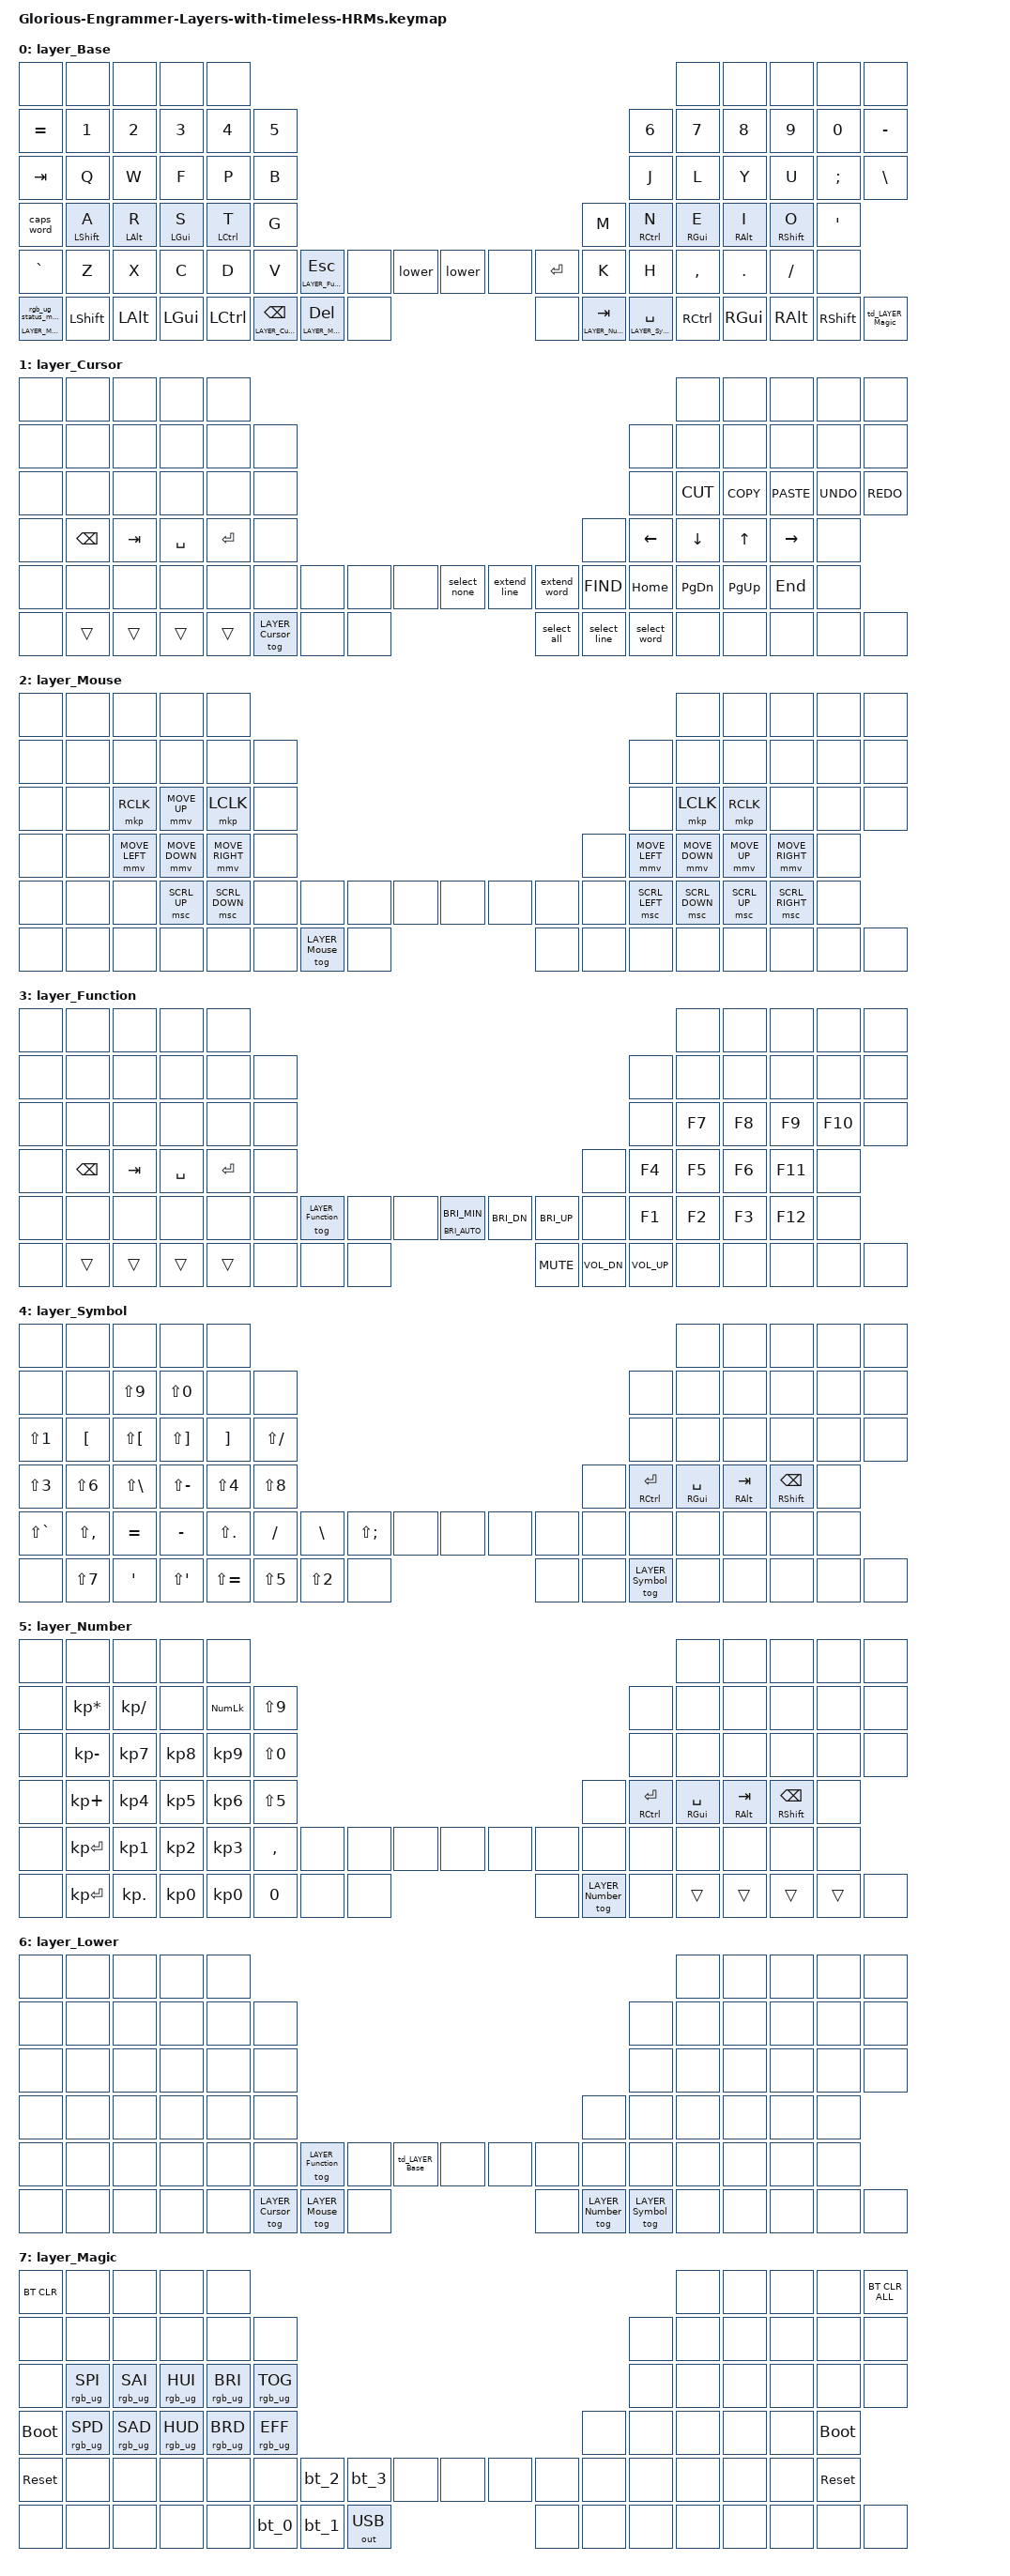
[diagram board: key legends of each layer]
/*
 * Copyright (c) 2020 The ZMK Contributors
 * Copyright (c) 2025 Innaworks Development Limited, trading as MoErgo
 *
 * SPDX-License-Identifier: MIT
 */


/* THIS FILE WAS GENERATED BY GLOVE80 LAYOUT EDITOR
 *
 * This file was generated automatically. You may or may not want to
 * edit it directly.
 */

#include <behaviors.dtsi>
/* Include all behavior includes needed */
#include <dt-bindings/zmk/outputs.h>
#include <dt-bindings/zmk/keys.h>
#include <dt-bindings/zmk/bt.h>
#include <dt-bindings/zmk/rgb.h>

/* On demand includes */
#include <dt-bindings/zmk/pointing.h>

/* Helper Macros, based on https://github.com/urob/zmk-helpers/ */

#pragma once

#define ZMK_HELPER_STRINGIFY(x) #x

// Preprocessor mechanism to overload macros, cf. https://stackoverflow.com/a/27051616/6114651
#define VARGS_(_10, _9, _8, _7, _6, _5, _4, _3, _2, _1, N, ...) N
#define VARGS(...) VARGS_(__VA_ARGS__, 10, 9, 8, 7, 6, 5, 4, 3, 2, 1, 0)
#define CONCAT_(a, b) a##b
#define CONCAT(a, b) CONCAT_(a, b)

#define ZMK_BEHAVIOR_CORE_tap_dance  \
    compatible = "zmk,behavior-tap-dance"; \
    #binding-cells = <0>

#define ZMK_BEHAVIOR(name, type, ...) \
    name: name { \
        ZMK_BEHAVIOR_CORE_ ## type; \
        __VA_ARGS__ \
    };

#define ZMK_TAP_DANCE(name, ...) \
    ZMK_BEHAVIOR(name, tap_dance, __VA_ARGS__)

#define ZMK_TD_LAYER(name, layer) \
    ZMK_TAP_DANCE(name, \
        tapping-term-ms = <200>; \
        bindings = <&mo layer>, <&to layer>; \
)

/* Automatically generated layer name #define */
#define LAYER_Base 0
#define LAYER_Cursor 1
#define LAYER_Mouse 2
#define LAYER_Function 3
#define LAYER_Symbol 4
#define LAYER_Number 5
#define LAYER_Lower 6
#define LAYER_Magic 7

/* To deal with the situation where there is no Lower layer, to keep &lower happy */
#ifndef LAYER_Lower
#define LAYER_Lower 0
#endif

/* Custom Device-tree */


/* Input Listeners */


/* System behavior and Macros */
/ {
    behaviors {
        ZMK_TD_LAYER(lower, LAYER_Lower)
    };
};

/ {
    macros {
        rgb_ug_status_macro: rgb_ug_status_macro {
            label = "RGB_UG_STATUS";
            compatible = "zmk,behavior-macro";
            #binding-cells = <0>;
            bindings
                = <&rgb_ug RGB_STATUS>;
        };
    };
};


/ {
#ifdef BT_DISC_CMD
    behaviors {
        bt_0: bt_0 {
            compatible = "zmk,behavior-tap-dance";
            label = "BT_0";
            #binding-cells = <0>;
            tapping-term-ms = <200>;
            bindings = <&bt_select_0>, <&bt BT_DISC 0>;
        };
        bt_1: bt_1 {
            compatible = "zmk,behavior-tap-dance";
            label = "BT_1";
            #binding-cells = <0>;
            tapping-term-ms = <200>;
            bindings = <&bt_select_1>, <&bt BT_DISC 1>;
        };
        bt_2: bt_2 {
            compatible = "zmk,behavior-tap-dance";
            label = "BT_2";
            #binding-cells = <0>;
            tapping-term-ms = <200>;
            bindings = <&bt_select_2>, <&bt BT_DISC 2>;
        };
        bt_3: bt_3 {
            compatible = "zmk,behavior-tap-dance";
            label = "BT_3";
            #binding-cells = <0>;
            tapping-term-ms = <200>;
            bindings = <&bt_select_3>, <&bt BT_DISC 3>;
        };
    };
    macros {
        bt_select_0: bt_select_0 {
            label = "BT_SELECT_0";
            compatible = "zmk,behavior-macro";
            #binding-cells = <0>;
            bindings
                = <&out OUT_BLE>,
                  <&bt BT_SEL 0>;
        };
        bt_select_1: bt_select_1 {
            label = "BT_SELECT_1";
            compatible = "zmk,behavior-macro";
            #binding-cells = <0>;
            bindings
                = <&out OUT_BLE>,
                  <&bt BT_SEL 1>;
        };
        bt_select_2: bt_select_2 {
            label = "BT_SELECT_2";
            compatible = "zmk,behavior-macro";
            #binding-cells = <0>;
            bindings
                = <&out OUT_BLE>,
                  <&bt BT_SEL 2>;
        };
        bt_select_3: bt_select_3 {
            label = "BT_SELECT_3";
            compatible = "zmk,behavior-macro";
            #binding-cells = <0>;
            bindings
                = <&out OUT_BLE>,
                  <&bt BT_SEL 3>;
        };
    };
#else
    macros {
        bt_0: bt_0 {
            label = "BT_0";
            compatible = "zmk,behavior-macro";
            #binding-cells = <0>;
            bindings
                = <&out OUT_BLE>,
                  <&bt BT_SEL 0>;
        };
        bt_1: bt_1 {
            label = "BT_1";
            compatible = "zmk,behavior-macro";
            #binding-cells = <0>;
            bindings
                = <&out OUT_BLE>,
                  <&bt BT_SEL 1>;
        };
        bt_2: bt_2 {
            label = "BT_2";
            compatible = "zmk,behavior-macro";
            #binding-cells = <0>;
            bindings
                = <&out OUT_BLE>,
                  <&bt BT_SEL 2>;
        };
        bt_3: bt_3 {
            label = "BT_3";
            compatible = "zmk,behavior-macro";
            #binding-cells = <0>;
            bindings
                = <&out OUT_BLE>,
                  <&bt BT_SEL 3>;
        };
    };
#endif
};

/ {
    behaviors {
        magic: magic {
            compatible = "zmk,behavior-hold-tap";
            label = "MAGIC_HOLD_TAP";
            #binding-cells = <2>;
            flavor = "tap-preferred";
            tapping-term-ms = <200>;
            bindings = <&mo>, <&rgb_ug_status_macro>;
        };
    };
};


/* Key positions */

#define POS_LH_C6R1 0
#define POS_LH_C5R1 1
#define POS_LH_C4R1 2
#define POS_LH_C3R1 3
#define POS_LH_C2R1 4
#define POS_RH_C2R1 5
#define POS_RH_C3R1 6
#define POS_RH_C4R1 7
#define POS_RH_C5R1 8
#define POS_RH_C6R1 9
#define POS_LH_C6R2 10
#define POS_LH_C5R2 11
#define POS_LH_C4R2 12
#define POS_LH_C3R2 13
#define POS_LH_C2R2 14
#define POS_LH_C1R2 15
#define POS_RH_C1R2 16
#define POS_RH_C2R2 17
#define POS_RH_C3R2 18
#define POS_RH_C4R2 19
#define POS_RH_C5R2 20
#define POS_RH_C6R2 21
#define POS_LH_C6R3 22
#define POS_LH_C5R3 23
#define POS_LH_C4R3 24
#define POS_LH_C3R3 25
#define POS_LH_C2R3 26
#define POS_LH_C1R3 27
#define POS_RH_C1R3 28
#define POS_RH_C2R3 29
#define POS_RH_C3R3 30
#define POS_RH_C4R3 31
#define POS_RH_C5R3 32
#define POS_RH_C6R3 33
#define POS_LH_C6R4 34
#define POS_LH_C5R4 35
#define POS_LH_C4R4 36
#define POS_LH_C3R4 37
#define POS_LH_C2R4 38
#define POS_LH_C1R4 39
#define POS_RH_C1R4 40
#define POS_RH_C2R4 41
#define POS_RH_C3R4 42
#define POS_RH_C4R4 43
#define POS_RH_C5R4 44
#define POS_RH_C6R4 45
#define POS_LH_C6R5 46
#define POS_LH_C5R5 47
#define POS_LH_C4R5 48
#define POS_LH_C3R5 49
#define POS_LH_C2R5 50
#define POS_LH_C1R5 51
#define POS_LH_T1 52
#define POS_LH_T2 53
#define POS_LH_T3 54
#define POS_RH_T3 55
#define POS_RH_T2 56
#define POS_RH_T1 57
#define POS_RH_C1R5 58
#define POS_RH_C2R5 59
#define POS_RH_C3R5 60
#define POS_RH_C4R5 61
#define POS_RH_C5R5 62
#define POS_RH_C6R5 63
#define POS_LH_C6R6 64
#define POS_LH_C5R6 65
#define POS_LH_C4R6 66
#define POS_LH_C3R6 67
#define POS_LH_C2R6 68
#define POS_LH_T4 69
#define POS_LH_T5 70
#define POS_LH_T6 71
#define POS_RH_T6 72
#define POS_RH_T5 73
#define POS_RH_T4 74
#define POS_RH_C2R6 75
#define POS_RH_C3R6 76
#define POS_RH_C4R6 77
#define POS_RH_C5R6 78
#define POS_RH_C6R6 79


/* Custom Defined Behaviors */
/ {

//////////////////////////////////////////////////////////////////////////////
//
// urobs "timeless" hrms
//
//////////////////////////////////////////////////////////////////////////////

//#define QUICK_TAP_MS 175

//#define KEYS_L LT0 LT1 LT2 LT3 LT4 LM0 LM1 LM2 LM3 LM4 LB0 LB1 LB2 LB3 LB4
//#define KEYS_R RT0 RT1 RT2 RT3 RT4 RM0 RM1 RM2 RM3 RM4 RB0 RB1 RB2 RB3 RB4
// #ifndef LH2
//  #define THUMBS LH1 LH0 RH0 RH1         // Thumbs on 34 keys.
//#else
//  #define THUMBS LH2 LH1 LH0 RH0 RH1 RH2 // Thumbs on 36+ keys.
//#endif

//#define MAKE_HRM(NAME, HOLD, TAP, TRIGGER_POS) ZMK_HOLD_TAP(NAME, \
//  bindings = <HOLD>, <TAP>; 
//  flavor = "balanced";
//  tapping-term-ms = <280>; 
//  quick-tap-ms = <QUICK_TAP_MS>;
//  require-prior-idle-ms = <150>;
//  hold-trigger-on-release;
//  hold-trigger-key-positions = <TRIGGER_POS>;
//)

//MAKE_HRM(hml, &kp, &kp, <KEYS_R THUMBS>) // Left-hand HRMs
//MAKE_HRM(hmr, &kp, &kp, <KEYS_L THUMBS>) // Right-hand HRMs

//////////////////////////////////////////////////////////////////////////////
//
// Define OS control keys
//
//////////////////////////////////////////////////////////////////////////////

  #define _C          LG
  #define _A_TAB      LGUI
  #define _G_TAB      LALT
  #define _REDO       LG(LS(Z))
  #define _POWER      K_POWER
  #define _WORD       LA
  #define _HOME       LG(LEFT)
  #define _END        LG(RIGHT)
  #define _EMOJI      LG(LC(SPACE))
  #define _FILES      LS(LA(M))
  #define _GLOBE      GLOBE
  #define _SLEEP      C_SLEEP
  #define _LOCK       _C(LC(Q))
  #define _UNDO       _C(Z)
  #define _CUT        _C(X)
  #define _COPY       _C(C)
  #define _PASTE      _C(V)
  #define _FIND       _C(F)
  #define _FIND_NEXT  _C(G)
  #define _FIND_PREV  _C(LS(G))

//////////////////////////////////////////////////////////////////////////
//
// Thumb cluster hold-tap keys for Miryoku layers
//
//////////////////////////////////////////////////////////////////////////

//behaviors {
//  thumb: thumb_layer_access {
//    compatible = "zmk,behavior-hold-tap";
//    flavor = "balanced";
//    tapping-term-ms = <150>;
//    quick-tap-ms = <100>; // enable repeat
//    #binding-cells = <2>;
//    bindings = <&mo>, <&kp>;
//  };
//}

//////////////////////////////////////////////////////////////////////////
//
// Approximation of Pascal Getreuer's Select Word macro from QMK
// - https://getreuer.info/posts/keyboards/select-word/index.html
//
//////////////////////////////////////////////////////////////////////////
macros {
  //
  // SELECT_WORD_DELAY defines how long the macro waits (milliseconds)
  // after moving the cursor before it selects a word.  A larger delay
  // may allow the macro to move to the next word upon each invocation.
  //
  #ifndef SELECT_WORD_DELAY
    #define SELECT_WORD_DELAY 1
  #endif

  #define select_all kp _C(A)

  ZMK_MACRO(select_none,
    wait-ms = <SELECT_WORD_DELAY>;
    tap-ms = <SELECT_WORD_DELAY>;
    bindings = <&kp DOWN &kp UP &kp RIGHT &kp LEFT>;
  )

  //
  // select a word (jumps to next word upon each successive invocation)
  //
  select_word: select_word {
    compatible = "zmk,behavior-mod-morph";
    #binding-cells = <0>;
    bindings = <&select_word_right>, <&select_word_left>;
    mods = <(MOD_LSFT|MOD_RSFT)>;
  };
  ZMK_MACRO(select_word_right,
    wait-ms = <SELECT_WORD_DELAY>;
    tap-ms = <SELECT_WORD_DELAY>;
    bindings = <&kp _WORD(RIGHT) &kp _WORD(LEFT) &kp _WORD(LS(RIGHT))>;
  )
  ZMK_MACRO(select_word_left,
    wait-ms = <SELECT_WORD_DELAY>;
    tap-ms = <SELECT_WORD_DELAY>;
    bindings = <&kp _WORD(LEFT) &kp _WORD(RIGHT) &kp _WORD(LS(LEFT))>;
  )

  //
  // extend current selection by one word
  //
  extend_word: extend_word {
    compatible = "zmk,behavior-mod-morph";
    #binding-cells = <0>;
    bindings = <&extend_word_right>, <&extend_word_left>;
    mods = <(MOD_LSFT|MOD_RSFT)>;
  };
  ZMK_MACRO(extend_word_right,
    wait-ms = <SELECT_WORD_DELAY>;
    tap-ms = <SELECT_WORD_DELAY>;
    bindings = <&kp _WORD(LS(RIGHT))>;
  )
  ZMK_MACRO(extend_word_left,
    wait-ms = <SELECT_WORD_DELAY>;
    tap-ms = <SELECT_WORD_DELAY>;
    bindings = <&kp _WORD(LS(LEFT))>;
  )

  //
  // select current line
  //
  select_line: select_line {
    compatible = "zmk,behavior-mod-morph";
    #binding-cells = <0>;
    bindings = <&select_line_right>, <&select_line_left>;
    mods = <(MOD_LSFT|MOD_RSFT)>;
  };
  ZMK_MACRO(select_line_right,
    wait-ms = <SELECT_WORD_DELAY>;
    tap-ms = <SELECT_WORD_DELAY>;
    bindings = <&kp _HOME &kp LS(_END)>;
  )
  ZMK_MACRO(select_line_left,
    wait-ms = <SELECT_WORD_DELAY>;
    tap-ms = <SELECT_WORD_DELAY>;
    bindings = <&kp _END &kp LS(_HOME)>;
  )

  //
  // extend current selection by one line
  //
  extend_line: extend_line {
    compatible = "zmk,behavior-mod-morph";
    #binding-cells = <0>;
    bindings = <&extend_line_right>, <&extend_line_left>;
    mods = <(MOD_LSFT|MOD_RSFT)>;
  };
  ZMK_MACRO(extend_line_right,
    wait-ms = <SELECT_WORD_DELAY>;
    tap-ms = <SELECT_WORD_DELAY>;
    bindings = <&kp LS(DOWN) &kp LS(_END)>;
  )
  ZMK_MACRO(extend_line_left,
    wait-ms = <SELECT_WORD_DELAY>;
    tap-ms = <SELECT_WORD_DELAY>;
    bindings = <&kp LS(UP) &kp LS(_HOME)>;
  )
};
};

/* Generated input processors */


/* Automatically generated macro definitions */
/ {
    macros {

    };
};

/* Automatically generated behavior definitions */
/ {
    behaviors {

        // Layer tap dance behaviors

        ZMK_TD_LAYER(td_LAYER_Base, 0)
        ZMK_TD_LAYER(td_LAYER_Magic, 7)

        // urob HRM Left
        hml: hml {
            compatible = "zmk,behavior-hold-tap";
            #binding-cells = <2>;
            tapping-term-ms = <280>;
            bindings = <&kp>, <&kp>;
            flavor = "balanced";
            quick-tap-ms = <175>;
            require-prior-idle-ms = <150>;
            hold-trigger-key-positions = <POS_RH_C2R3 POS_RH_C3R3 POS_RH_C1R4 POS_RH_C2R4 POS_RH_C3R4 POS_RH_C4R4 POS_RH_C5R4 POS_RH_C2R5 POS_RH_C3R5 POS_RH_C4R5 POS_RH_C5R5 POS_RH_C6R5 POS_RH_C2R6 POS_RH_C3R6 POS_RH_C4R6 POS_RH_C5R6 POS_RH_C6R6 POS_RH_C4R3 POS_RH_C5R3 POS_RH_C6R3 POS_RH_C6R4 POS_RH_C1R3 POS_RH_C1R5 POS_RH_C3R2 POS_RH_C4R2 POS_RH_C5R2 POS_RH_C6R2 POS_RH_C1R2 POS_RH_C2R2 POS_RH_T1 POS_RH_T4 POS_RH_T2 POS_RH_T5 POS_RH_T6 POS_RH_T3>;
            hold-trigger-on-release;
        };

        // urob HRM Right
        hmr: hmr {
            compatible = "zmk,behavior-hold-tap";
            #binding-cells = <2>;
            tapping-term-ms = <280>;
            bindings = <&kp>, <&kp>;
            flavor = "balanced";
            quick-tap-ms = <175>;
            require-prior-idle-ms = <150>;
            hold-trigger-key-positions = <POS_LH_C6R3 POS_LH_C5R3 POS_LH_C4R3 POS_LH_C3R3 POS_LH_C2R3 POS_LH_C1R3 POS_LH_C6R4 POS_LH_C5R4 POS_LH_C4R4 POS_LH_C3R4 POS_LH_C2R4 POS_LH_C1R4 POS_LH_C6R5 POS_LH_C5R5 POS_LH_C4R5 POS_LH_C3R5 POS_LH_C2R5 POS_LH_C1R5 POS_LH_T1 POS_LH_T2 POS_LH_T3 POS_LH_C6R6 POS_LH_C5R6 POS_LH_C4R6 POS_LH_C3R6 POS_LH_C2R6 POS_LH_T4 POS_LH_T5 POS_LH_T6 POS_LH_C6R2 POS_LH_C5R2 POS_LH_C4R2 POS_LH_C3R2 POS_LH_C2R2 POS_LH_C1R2>;
            hold-trigger-on-release;
        };
    };
};

/* Automatically generated combos definitions */


/* Automatically generated keymap */
/ {
    keymap {
        compatible = "zmk,keymap";


        layer_Base {
            bindings = <
                &none         &none        &none        &none         &none                                                                                                                                    &none        &none        &none         &none            &none
            &kp EQUAL        &kp N1       &kp N2       &kp N3        &kp N4  &kp N5                                                                                                             &kp N6        &kp N7       &kp N8       &kp N9        &kp N0        &kp MINUS
              &kp TAB         &kp Q        &kp W        &kp F         &kp P   &kp B                                                                                                              &kp J         &kp L        &kp Y        &kp U      &kp SEMI         &kp BSLH
           &caps_word  &hml LSHFT A  &hml LALT R  &hml LGUI S  &hml LCTRL T   &kp G                                                                                                              &kp M  &hmr RCTRL N  &hmr RGUI E  &hmr RALT I  &hmr RSHFT O          &kp SQT
            &kp GRAVE         &kp Z        &kp X        &kp C         &kp D   &kp V  &lt LAYER_Function ESC                &none  &lower  &lower                 &none                 &kp RET   &kp K         &kp H    &kp COMMA      &kp DOT      &kp FSLH            &none
 &magic LAYER_Magic 0     &kp LSHFT     &kp LALT     &kp LGUI     &kp LCTRL           &lt LAYER_Cursor BSPC  &lt LAYER_Mouse DEL   &none   &none  &lt LAYER_Number TAB  &lt LAYER_Symbol SPACE             &kp RCTRL     &kp RGUI     &kp RALT     &kp RSHFT  &td_LAYER_Magic
            >;
        };

        layer_Cursor {
            bindings = <
  &none     &none    &none      &none    &none                                                                                                       &none       &none        &none       &none       &none
  &none     &none    &none      &none    &none   &none                                                                                    &none      &none       &none        &none       &none       &none
  &none     &none    &none      &none    &none   &none                                                                                    &none  &kp K_CUT  &kp K_COPY  &kp K_PASTE  &kp K_UNDO  &kp K_REDO
  &none  &kp BSPC  &kp TAB  &kp SPACE  &kp RET   &none                                                                                    &none   &kp LEFT    &kp DOWN       &kp UP   &kp RIGHT       &none
  &none     &none    &none      &none    &none   &none              &none   &none   &none  &select_none  &extend_line  &extend_word  &kp K_FIND   &kp HOME   &kp PG_DN    &kp PG_UP     &kp END       &none
  &none    &trans   &trans     &trans   &trans          &tog LAYER_Cursor   &none   &none   &select_all  &select_line  &select_word                  &none       &none        &none       &none       &none
            >;
        };

        layer_Mouse {
            bindings = <
  &none   &none           &none           &none            &none                                                                                     &none           &none         &none            &none   &none
  &none   &none           &none           &none            &none   &none                                                             &none           &none           &none         &none            &none   &none
  &none   &none       &mkp RCLK    &mmv MOVE_UP        &mkp LCLK   &none                                                             &none       &mkp LCLK       &mkp RCLK         &none            &none   &none
  &none   &none  &mmv MOVE_LEFT  &mmv MOVE_DOWN  &mmv MOVE_RIGHT   &none                                                             &none  &mmv MOVE_LEFT  &mmv MOVE_DOWN  &mmv MOVE_UP  &mmv MOVE_RIGHT   &none
  &none   &none           &none    &msc SCRL_UP   &msc SCRL_DOWN   &none   &none             &none   &none   &none   &none   &none   &none  &msc SCRL_LEFT  &msc SCRL_DOWN  &msc SCRL_UP  &msc SCRL_RIGHT   &none
  &none   &none           &none           &none            &none           &none  &tog LAYER_Mouse   &none   &none   &none   &none                   &none           &none         &none            &none   &none
            >;
        };

        layer_Function {
            bindings = <
  &none     &none    &none      &none    &none                                                                                                              &none   &none   &none    &none   &none
  &none     &none    &none      &none    &none   &none                                                                                              &none   &none   &none   &none    &none   &none
  &none     &none    &none      &none    &none   &none                                                                                              &none  &kp F7  &kp F8  &kp F9  &kp F10   &none
  &none  &kp BSPC  &kp TAB  &kp SPACE  &kp RET   &none                                                                                              &none  &kp F4  &kp F5  &kp F6  &kp F11   &none
  &none     &none    &none      &none    &none   &none  &tog LAYER_Function   &none   &none  &mt C_BRI_AUTO C_BRI_MIN  &kp C_BRI_DN  &kp C_BRI_UP   &none  &kp F1  &kp F2  &kp F3  &kp F12   &none
  &none    &trans   &trans     &trans   &trans                        &none   &none   &none                &kp C_MUTE  &kp C_VOL_DN  &kp C_VOL_UP           &none   &none   &none    &none   &none
            >;
        };

        layer_Symbol {
            bindings = <
         &none          &none         &none          &none          &none                                                                                                      &none            &none          &none            &none   &none
         &none          &none    &kp LS(N9)     &kp LS(N0)          &none         &none                                                                        &none           &none            &none          &none            &none   &none
    &kp LS(N1)       &kp LBKT  &kp LS(LBKT)   &kp LS(RBKT)       &kp RBKT  &kp LS(FSLH)                                                                        &none           &none            &none          &none            &none   &none
    &kp LS(N3)     &kp LS(N6)  &kp LS(BSLH)  &kp LS(MINUS)     &kp LS(N4)    &kp LS(N8)                                                                        &none  &hmr RCTRL RET  &hmr RGUI SPACE  &hmr RALT TAB  &hmr RSHFT BSPC   &none
 &kp LS(GRAVE)  &kp LS(COMMA)     &kp EQUAL      &kp MINUS    &kp LS(DOT)      &kp FSLH    &kp BSLH  &kp LS(SEMI)   &none   &none   &none              &none   &none           &none            &none          &none            &none   &none
         &none     &kp LS(N7)       &kp SQT    &kp LS(SQT)  &kp LS(EQUAL)                &kp LS(N5)    &kp LS(N2)   &none   &none   &none  &tog LAYER_Symbol                   &none            &none          &none            &none   &none
            >;
        };

        layer_Number {
            bindings = <
  &none            &none         &none      &none       &none                                                                                          &none            &none          &none            &none   &none
  &none  &kp KP_MULTIPLY  &kp KP_SLASH      &none  &kp KP_NUM  &kp LS(N9)                                                              &none           &none            &none          &none            &none   &none
  &none     &kp KP_MINUS     &kp KP_N7  &kp KP_N8   &kp KP_N9  &kp LS(N0)                                                              &none           &none            &none          &none            &none   &none
  &none      &kp KP_PLUS     &kp KP_N4  &kp KP_N5   &kp KP_N6  &kp LS(N5)                                                              &none  &hmr RCTRL RET  &hmr RGUI SPACE  &hmr RALT TAB  &hmr RSHFT BSPC   &none
  &none     &kp KP_ENTER     &kp KP_N1  &kp KP_N2   &kp KP_N3   &kp COMMA   &none   &none   &none   &none              &none   &none   &none           &none            &none          &none            &none   &none
  &none     &kp KP_ENTER    &kp KP_DOT  &kp KP_N0   &kp KP_N0              &kp N0   &none   &none   &none  &tog LAYER_Number   &none                  &trans           &trans         &trans           &trans   &none
            >;
        };

        layer_Lower {
            bindings = <
  &none   &none   &none   &none   &none                                                                                                                        &none   &none   &none   &none   &none
  &none   &none   &none   &none   &none   &none                                                                                                        &none   &none   &none   &none   &none   &none
  &none   &none   &none   &none   &none   &none                                                                                                        &none   &none   &none   &none   &none   &none
  &none   &none   &none   &none   &none   &none                                                                                                        &none   &none   &none   &none   &none   &none
  &none   &none   &none   &none   &none   &none  &tog LAYER_Function             &none  &td_LAYER_Base   &none              &none              &none   &none   &none   &none   &none   &none   &none
  &none   &none   &none   &none   &none            &tog LAYER_Cursor  &tog LAYER_Mouse           &none   &none  &tog LAYER_Number  &tog LAYER_Symbol           &none   &none   &none   &none   &none
            >;
        };

        layer_Magic {
            bindings = <
  &bt BT_CLR            &none            &none            &none            &none                                                                                  &none   &none   &none   &none  &bt BT_CLR_ALL
       &none            &none            &none            &none            &none            &none                                                         &none   &none   &none   &none   &none           &none
       &none  &rgb_ug RGB_SPI  &rgb_ug RGB_SAI  &rgb_ug RGB_HUI  &rgb_ug RGB_BRI  &rgb_ug RGB_TOG                                                         &none   &none   &none   &none   &none           &none
 &bootloader  &rgb_ug RGB_SPD  &rgb_ug RGB_SAD  &rgb_ug RGB_HUD  &rgb_ug RGB_BRD  &rgb_ug RGB_EFF                                                         &none   &none   &none   &none   &none     &bootloader
  &sys_reset            &none            &none            &none            &none            &none   &bt_2   &bt_3         &none   &none   &none   &none   &none   &none   &none   &none   &none      &sys_reset
       &none            &none            &none            &none            &none                    &bt_0   &bt_1  &out OUT_USB   &none   &none   &none           &none   &none   &none   &none           &none
            >;
        };

    };
};
